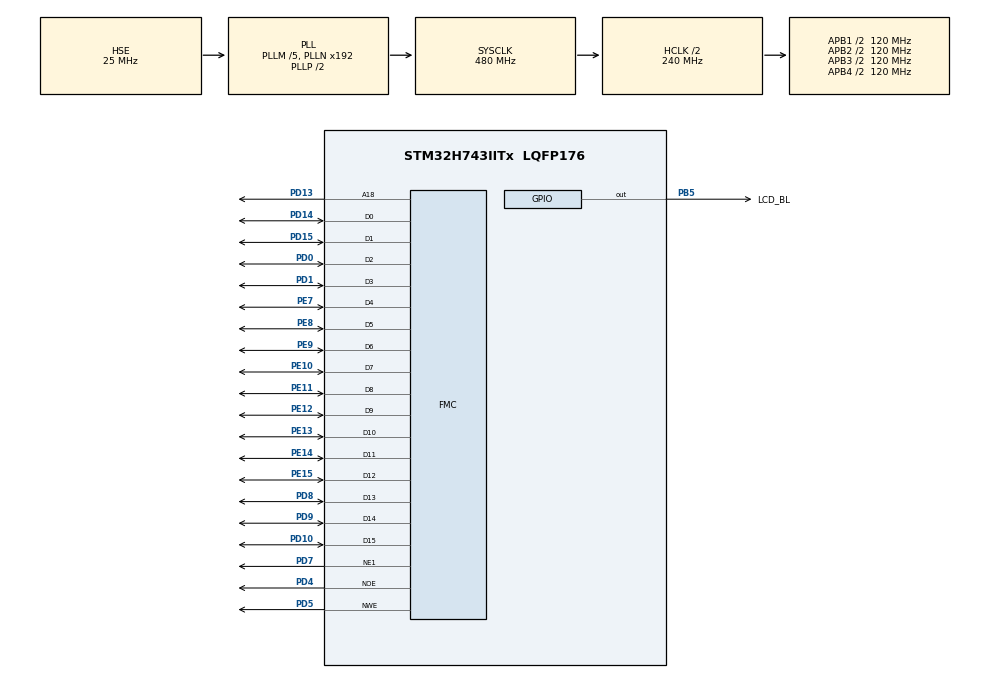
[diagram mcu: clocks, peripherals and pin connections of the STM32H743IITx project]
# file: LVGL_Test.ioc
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CORTEX_M7.AccessPermission-Cortex_Memory_Protection_Unit_Region0_Settings=MPU_REGION_FULL_ACCESS
CORTEX_M7.AccessPermission-Cortex_Memory_Protection_Unit_Region1_Settings=MPU_REGION_FULL_ACCESS
CORTEX_M7.BaseAddress-Cortex_Memory_Protection_Unit_Region0_Settings=0x24000000
CORTEX_M7.BaseAddress-Cortex_Memory_Protection_Unit_Region1_Settings=0x60000000
CORTEX_M7.CPU_DCache=Enabled
CORTEX_M7.CPU_ICache=Enabled
CORTEX_M7.Enable-Cortex_Memory_Protection_Unit_Region0_Settings=MPU_REGION_ENABLE
CORTEX_M7.Enable-Cortex_Memory_Protection_Unit_Region1_Settings=MPU_REGION_ENABLE
CORTEX_M7.IsBufferable-Cortex_Memory_Protection_Unit_Region0_Settings=MPU_ACCESS_NOT_BUFFERABLE
CORTEX_M7.IsBufferable-Cortex_Memory_Protection_Unit_Region1_Settings=MPU_ACCESS_BUFFERABLE
CORTEX_M7.IsCacheable-Cortex_Memory_Protection_Unit_Region0_Settings=MPU_ACCESS_NOT_CACHEABLE
CORTEX_M7.MPU_Control=MPU_PRIVILEGED_DEFAULT
CORTEX_M7.Size-Cortex_Memory_Protection_Unit_Region0_Settings=MPU_REGION_SIZE_512KB
CORTEX_M7.Size-Cortex_Memory_Protection_Unit_Region1_Settings=MPU_REGION_SIZE_256MB
CORTEX_M7.TypeExtField-Cortex_Memory_Protection_Unit_Region0_Settings=MPU_TEX_LEVEL1
CORTEX_M7.TypeExtField-Cortex_Memory_Protection_Unit_Region1_Settings=MPU_TEX_LEVEL0
CORTEX_M7.default_mode_Activation=0
Dma.MEMTOMEM.0.Direction=DMA_MEMORY_TO_MEMORY
Dma.MEMTOMEM.0.EventEnable=DISABLE
Dma.MEMTOMEM.0.FIFOMode=DMA_FIFOMODE_ENABLE
Dma.MEMTOMEM.0.FIFOThreshold=DMA_FIFO_THRESHOLD_FULL
Dma.MEMTOMEM.0.Instance=DMA1_Stream0
Dma.MEMTOMEM.0.MemBurst=DMA_MBURST_SINGLE
Dma.MEMTOMEM.0.MemDataAlignment=DMA_MDATAALIGN_HALFWORD
Dma.MEMTOMEM.0.MemInc=DMA_MINC_DISABLE
Dma.MEMTOMEM.0.Mode=DMA_NORMAL
Dma.MEMTOMEM.0.PeriphBurst=DMA_PBURST_SINGLE
Dma.MEMTOMEM.0.PeriphDataAlignment=DMA_PDATAALIGN_HALFWORD
Dma.MEMTOMEM.0.PeriphInc=DMA_PINC_ENABLE
Dma.MEMTOMEM.0.Polarity=HAL_DMAMUX_REQ_GEN_RISING
Dma.MEMTOMEM.0.Priority=DMA_PRIORITY_LOW
Dma.MEMTOMEM.0.RequestNumber=1
Dma.MEMTOMEM.0.SignalID=NONE
Dma.MEMTOMEM.0.SyncEnable=DISABLE
Dma.MEMTOMEM.0.SyncPolarity=HAL_DMAMUX_SYNC_NO_EVENT
Dma.MEMTOMEM.0.SyncRequestNumber=1
Dma.MEMTOMEM.0.SyncSignalID=NONE
Dma.Request0=MEMTOMEM
FMC.AddressSetupTime1=15
FMC.BusTurnAroundDuration1=0
FMC.DataSetupTime1=78
FMC.ExtendedAddressSetupTime1=6
FMC.ExtendedBusTurnAroundDuration1=0
FMC.ExtendedDataSetupTime1=6
FMC.ExtendedMode1=FMC_EXTENDED_MODE_ENABLE
FMC.WriteFifo1=FMC_WRITE_FIFO_DISABLE
Mcu.Family=STM32H7
Mcu.Name=STM32H743IITx
Mcu.Package=LQFP176
NVIC.DMA1_Stream0_IRQn=true\:10\:0\:true\:false\:true\:true\:true\:true
NVIC.PriorityGroup=NVIC_PRIORITYGROUP_4
NVIC.TIM2_IRQn=true\:15\:0\:true\:false\:true\:true\:true\:true
PA13\ (JTMS/SWDIO).Mode=Serial_Wire
PA13\ (JTMS/SWDIO).Signal=DEBUG_JTMS-SWDIO
PA14\ (JTCK/SWCLK).Mode=Serial_Wire
PA14\ (JTCK/SWCLK).Signal=DEBUG_JTCK-SWCLK
PB5.GPIO_Label=LCD_BL
PB5.GPIO_PuPd=GPIO_PULLDOWN
PB5.GPIO_Speed=GPIO_SPEED_FREQ_MEDIUM
PB5.Signal=GPIO_Output
PD0.Signal=FMC_D2_DA2
PD1.Signal=FMC_D3_DA3
PD10.Signal=FMC_D15_DA15
PD13.Signal=FMC_A18
PD14.Signal=FMC_D0_DA0
PD15.Signal=FMC_D1_DA1
PD4.Signal=FMC_NOE
PD5.Signal=FMC_NWE
PD7.Mode=NorPsramChipSelect1_1
PD7.Signal=FMC_NE1
PD8.Signal=FMC_D13_DA13
PD9.Signal=FMC_D14_DA14
PE10.Signal=FMC_D7_DA7
PE11.Signal=FMC_D8_DA8
PE12.Signal=FMC_D9_DA9
PE13.Signal=FMC_D10_DA10
PE14.Signal=FMC_D11_DA11
PE15.Signal=FMC_D12_DA12
PE7.Signal=FMC_D4_DA4
PE8.Signal=FMC_D5_DA5
PE9.Signal=FMC_D6_DA6
PH0-OSC_IN\ (PH0).Mode=HSE-External-Oscillator
PH0-OSC_IN\ (PH0).Signal=RCC_OSC_IN
PH1-OSC_OUT\ (PH1).Mode=HSE-External-Oscillator
PH1-OSC_OUT\ (PH1).Signal=RCC_OSC_OUT
ProjectManager.HeapSize=0x2000
ProjectManager.StackSize=0x2000
ProjectManager.TargetToolchain=MDK-ARM V5.32
RCC.ADCFreq_Value=480000000
RCC.APB1Freq_Value=120000000
RCC.APB2Freq_Value=120000000
RCC.APB3Freq_Value=120000000
RCC.APB4Freq_Value=120000000
RCC.CKPERSourceSelection=RCC_CLKPSOURCE_HSE
RCC.CSICalibrationValue=32
RCC.CortexFreq_Value=480000000
RCC.D1PPRE=RCC_APB3_DIV2
RCC.D2PPRE1=RCC_APB1_DIV2
RCC.D2PPRE2=RCC_APB2_DIV2
RCC.D3PPRE=RCC_APB4_DIV2
RCC.DIVM1=5
RCC.DIVM2=5
RCC.DIVN1=192
RCC.DIVN2=192
RCC.DIVQ1=4
RCC.DIVR1=8
RCC.DIVR2=8
RCC.EnbaleCSS=true
RCC.FMCCLockSelection=RCC_FMCCLKSOURCE_PLL
RCC.HCLKFreq_Value=240000000
RCC.HPRE=RCC_HCLK_DIV2
RCC.HSE_Timout=100
RCC.HSE_VALUE=25000000
RCC.HSICalibrationValue=64
RCC.PLL1_VCI_Range=RCC_PLL1VCIRANGE_3
RCC.PLLFRACN=0
RCC.PLLSourceVirtual=RCC_PLLSOURCE_HSE
RCC.PWR_Regulator_Voltage_Scale=PWR_REGULATOR_VOLTAGE_SCALE0
RCC.ProductRev=revV
RCC.SPI123CLockSelection=RCC_SPI123CLKSOURCE_PLL2
RCC.SYSCLKFreq_VALUE=480000000
RCC.SYSCLKSource=RCC_SYSCLKSOURCE_PLLCLK
RCC.USBFreq_Value=240000000
SH.FMC_A18.0=FMC_A18,A18_1
SH.FMC_D0_DA0.0=FMC_D0,16b-d1
SH.FMC_D10_DA10.0=FMC_D10,16b-d1
SH.FMC_D11_DA11.0=FMC_D11,16b-d1
SH.FMC_D12_DA12.0=FMC_D12,16b-d1
SH.FMC_D13_DA13.0=FMC_D13,16b-d1
SH.FMC_D14_DA14.0=FMC_D14,16b-d1
SH.FMC_D15_DA15.0=FMC_D15,16b-d1
SH.FMC_D1_DA1.0=FMC_D1,16b-d1
SH.FMC_D2_DA2.0=FMC_D2,16b-d1
SH.FMC_D3_DA3.0=FMC_D3,16b-d1
SH.FMC_D4_DA4.0=FMC_D4,16b-d1
SH.FMC_D5_DA5.0=FMC_D5,16b-d1
SH.FMC_D6_DA6.0=FMC_D6,16b-d1
SH.FMC_D7_DA7.0=FMC_D7,16b-d1
SH.FMC_D8_DA8.0=FMC_D8,16b-d1
SH.FMC_D9_DA9.0=FMC_D9,16b-d1
SH.FMC_NOE.0=FMC_NOE,Lcd1
SH.FMC_NWE.0=FMC_NWE,Lcd1
TIM2.AutoReloadPreload=TIM_AUTORELOAD_PRELOAD_ENABLE
TIM2.Period=999
TIM2.Prescaler=239
TIM2.TIM_MasterOutputTrigger=TIM_TRGO_RESET
VP_TIM2_VS_ClockSourceINT.Mode=Internal
board=custom

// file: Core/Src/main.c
/* USER CODE BEGIN Header */
/**
  ******************************************************************************
  * @file           : main.c
  * @brief          : Main program body
  ******************************************************************************
  * @attention
  *
  * Copyright (c) 2025 STMicroelectronics.
  * All rights reserved.
  *
  * This software is licensed under terms that can be found in the LICENSE file
  * in the root directory of this software component.
  * If no LICENSE file comes with this software, it is provided AS-IS.
  *
  ******************************************************************************
  */
/* USER CODE END Header */
#include "main.h"
#include "dma.h"
#include "tim.h"
#include "gpio.h"
#include "fmc.h"

/* USER CODE BEGIN Includes */
#include "lvgl.h"
#include "lv_port_disp.h"
#include "lv_port_indev.h"
#include "user_lv.h"
/* USER CODE END Includes */

void SystemClock_Config(void);
static void MPU_Initialize(void);
static void MPU_Config(void);
/* USER CODE BEGIN PFP */
void lv_dma1_xfer_cplt_cb(DMA_HandleTypeDef *hdma);
/* USER CODE END PFP */

int main(void)
{

  /* Enable I-Cache---------------------------------------------------------*/
  SCB_EnableICache();

  /* Enable D-Cache---------------------------------------------------------*/
  SCB_EnableDCache();

  /* MCU Configuration--------------------------------------------------------*/

  /* Reset of all peripherals, Initializes the Flash interface and the Systick. */
  HAL_Init();

  /* MPU Configuration--------------------------------------------------------*/
  MPU_Config();

  /* Configure the system clock */
  SystemClock_Config();

  /* Initialize all configured peripherals */
  MX_GPIO_Init();
  MX_DMA_Init();
  MX_FMC_Init();
  MX_TIM2_Init();
  /* USER CODE BEGIN 2 */
  lv_init();
  lv_port_disp_init();
  lv_port_indev_init();
  HAL_TIM_Base_Start_IT(&htim2);
  HAL_DMA_RegisterCallback(&hdma_memtomem_dma1_stream0, HAL_DMA_XFER_CPLT_CB_ID, lv_dma1_xfer_cplt_cb);
  hello_world();
  /* USER CODE END 2 */

  /* Infinite loop */
  while (1)
  {

  }
}

void SystemClock_Config(void)
{
  RCC_OscInitTypeDef RCC_OscInitStruct = {0};
  RCC_ClkInitTypeDef RCC_ClkInitStruct = {0};

  /** Supply configuration update enable
  */
  HAL_PWREx_ConfigSupply(PWR_LDO_SUPPLY);

  /** Configure the main internal regulator output voltage
  */
  __HAL_PWR_VOLTAGESCALING_CONFIG(PWR_REGULATOR_VOLTAGE_SCALE1);

  while(!__HAL_PWR_GET_FLAG(PWR_FLAG_VOSRDY)) {}

  __HAL_RCC_SYSCFG_CLK_ENABLE();
  __HAL_PWR_VOLTAGESCALING_CONFIG(PWR_REGULATOR_VOLTAGE_SCALE0);

  while(!__HAL_PWR_GET_FLAG(PWR_FLAG_VOSRDY)) {}

  /** Initializes the RCC Oscillators according to the specified parameters
  * in the RCC_OscInitTypeDef structure.
  */
  RCC_OscInitStruct.OscillatorType = RCC_OSCILLATORTYPE_HSE;
  RCC_OscInitStruct.HSEState = RCC_HSE_ON;
  RCC_OscInitStruct.PLL.PLLState = RCC_PLL_ON;
  RCC_OscInitStruct.PLL.PLLSource = RCC_PLLSOURCE_HSE;
  RCC_OscInitStruct.PLL.PLLM = 5;
  RCC_OscInitStruct.PLL.PLLN = 192;
  RCC_OscInitStruct.PLL.PLLP = 2;
  RCC_OscInitStruct.PLL.PLLQ = 4;
  RCC_OscInitStruct.PLL.PLLR = 8;
  RCC_OscInitStruct.PLL.PLLRGE = RCC_PLL1VCIRANGE_3;
  RCC_OscInitStruct.PLL.PLLVCOSEL = RCC_PLL1VCOWIDE;
  RCC_OscInitStruct.PLL.PLLFRACN = 0;
  if (HAL_RCC_OscConfig(&RCC_OscInitStruct) != HAL_OK)
  {
    Error_Handler();
  }

  /** Initializes the CPU, AHB and APB buses clocks
  */
  RCC_ClkInitStruct.ClockType = RCC_CLOCKTYPE_HCLK|RCC_CLOCKTYPE_SYSCLK
                              |RCC_CLOCKTYPE_PCLK1|RCC_CLOCKTYPE_PCLK2
                              |RCC_CLOCKTYPE_D3PCLK1|RCC_CLOCKTYPE_D1PCLK1;
  RCC_ClkInitStruct.SYSCLKSource = RCC_SYSCLKSOURCE_PLLCLK;
  RCC_ClkInitStruct.SYSCLKDivider = RCC_SYSCLK_DIV1;
  RCC_ClkInitStruct.AHBCLKDivider = RCC_HCLK_DIV2;
  RCC_ClkInitStruct.APB3CLKDivider = RCC_APB3_DIV2;
  RCC_ClkInitStruct.APB1CLKDivider = RCC_APB1_DIV2;
  RCC_ClkInitStruct.APB2CLKDivider = RCC_APB2_DIV2;
  RCC_ClkInitStruct.APB4CLKDivider = RCC_APB4_DIV2;

  if (HAL_RCC_ClockConfig(&RCC_ClkInitStruct, FLASH_LATENCY_4) != HAL_OK)
  {
    Error_Handler();
  }

  /** Enables the Clock Security System
  */
  HAL_RCC_EnableCSS();
}

/* USER CODE BEGIN 4 */
/**
 * @brief 毫秒级延时函数
 *
 * @param Delay 延时时间
 */
void HAL_Delay(uint32_t Delay)
{
    uint32_t ticks;
    uint32_t told, tnow, tcnt = 0;
    uint32_t reload = SysTick->LOAD;        /* LOAD的值 */
		Delay*=1000;
    ticks = Delay * 480;                 /* 需要的节拍数 */
    told = SysTick->VAL;                    /* 刚进入时的计数器值 */
    while (1)
    {
        tnow = SysTick->VAL;
        if (tnow != told)
        {
            if (tnow < told)
            {
                tcnt += told - tnow;        /* 这里注意一下SYSTICK是一个递减的计数器就可以了 */
            }
            else
            {
                tcnt += reload - tnow + told;
            }
            told = tnow;
            if (tcnt >= ticks)
            {
                break;                      /* 时间超过/等于要延迟的时间,则退出 */
            }
        }
    }
}

/**
 * @brief 微秒级延时函数
 *
 * @param Delay 延时时间
 */
void HAL_uDelay(uint32_t Delay)
{
    uint32_t ticks;
    uint32_t told, tnow, tcnt = 0;
    uint32_t reload = SysTick->LOAD;        /* LOAD的值 */
    ticks = Delay * 480;                 /* 需要的节拍数 */
    told = SysTick->VAL;                    /* 刚进入时的计数器值 */
    while (1)
    {
        tnow = SysTick->VAL;
        if (tnow != told)
        {
            if (tnow < told)
            {
                tcnt += told - tnow;        /* 这里注意一下SYSTICK是一个递减的计数器就可以了 */
            }
            else
            {
                tcnt += reload - tnow + told;
            }
            told = tnow;
            if (tcnt >= ticks)
            {
                break;                      /* 时间超过/等于要延迟的时间,则退出 */
            }
        }
    }
}
/**
 * @brief lvgl屏幕刷新回调函数
 *
 * @param hdma dma句柄
 */
void lv_dma1_xfer_cplt_cb(DMA_HandleTypeDef *hdma)
{
    lv_disp_t * disp_drv = lv_disp_get_default();
    lv_disp_flush_ready(disp_drv);
}
void HAL_TIM_PeriodElapsedCallback(TIM_HandleTypeDef *htim)
{
  static uint8_t cnt = 0;
  cnt++;
  lv_tick_inc(1);
  if(cnt == 5){
    lv_task_handler();
    cnt = 0;
  }
}
/* USER CODE END 4 */

/* MPU Configuration */

void MPU_Config(void)
{
  MPU_Region_InitTypeDef MPU_InitStruct = {0};

  /* Disables the MPU */
  HAL_MPU_Disable();

  /** Initializes and configures the Region and the memory to be protected
  */
  MPU_InitStruct.Enable = MPU_REGION_ENABLE;
  MPU_InitStruct.Number = MPU_REGION_NUMBER0;
  MPU_InitStruct.BaseAddress = 0x24000000;
  MPU_InitStruct.Size = MPU_REGION_SIZE_512KB;
  MPU_InitStruct.SubRegionDisable = 0x0;
  MPU_InitStruct.TypeExtField = MPU_TEX_LEVEL1;
  MPU_InitStruct.AccessPermission = MPU_REGION_FULL_ACCESS;
  MPU_InitStruct.DisableExec = MPU_INSTRUCTION_ACCESS_ENABLE;
  MPU_InitStruct.IsShareable = MPU_ACCESS_NOT_SHAREABLE;
  MPU_InitStruct.IsCacheable = MPU_ACCESS_NOT_CACHEABLE;
  MPU_InitStruct.IsBufferable = MPU_ACCESS_NOT_BUFFERABLE;

  HAL_MPU_ConfigRegion(&MPU_InitStruct);

  /** Initializes and configures the Region and the memory to be protected
  */
  MPU_InitStruct.Number = MPU_REGION_NUMBER1;
  MPU_InitStruct.BaseAddress = 0x60000000;
  MPU_InitStruct.Size = MPU_REGION_SIZE_256MB;
  MPU_InitStruct.TypeExtField = MPU_TEX_LEVEL0;
  MPU_InitStruct.IsBufferable = MPU_ACCESS_BUFFERABLE;

  HAL_MPU_ConfigRegion(&MPU_InitStruct);
  /* Enables the MPU */
  HAL_MPU_Enable(MPU_PRIVILEGED_DEFAULT);

}

void Error_Handler(void)
{
  __disable_irq();
  while (1)
  {
  }
}
